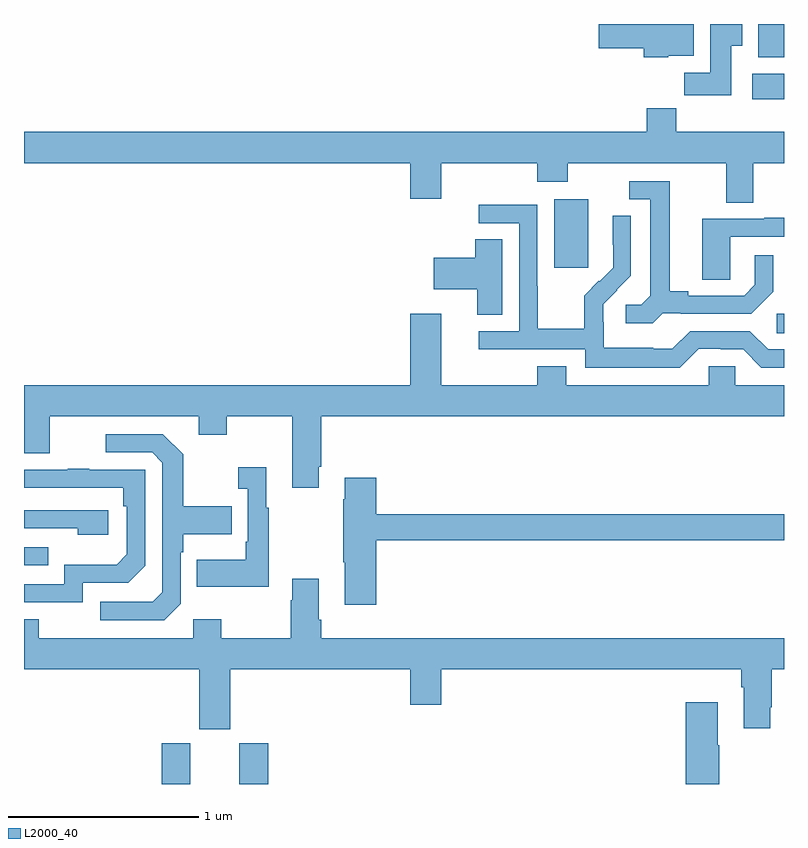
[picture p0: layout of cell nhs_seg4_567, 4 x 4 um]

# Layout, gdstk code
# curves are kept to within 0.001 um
import gdstk
lib = gdstk.Library(unit=1e-6, precision=1e-09)
def R(c, l, rs):  # rectangles x0, y0, x1, y1
    for r in rs: c.add(gdstk.rectangle(r[:2], r[2:], *l))
def P(c, l, *ps):  # polygons
    for p in ps: c.add(gdstk.Polygon(p, *l))
L2000_40 = (2000, 40)

nhs_seg4_567 = lib.new_cell('nhs_seg4_567')
R(nhs_seg4_567, L2000_40, [(139.724,778.9,139.876,779.115), (140.132,778.9,140.285,779.115), (139,780.051,139.127,780.147), (142.962,781.273,143,781.374), (141.791,781.617,141.97,781.978), (142.833,782.504,143,782.638), (142.865,782.726,143,782.9)])
P(nhs_seg4_567, L2000_40, [(142.723,782.785),(142.78,782.785),(142.78,782.9),(142.613,782.9),(142.613,782.644),(142.474,782.644),(142.474,782.526),(142.723,782.526)],
  [(142.392,782.732),(142.525,782.732),(142.525,782.9),(142.026,782.9),(142.026,782.773),(142.262,782.773),(142.262,782.726),(142.392,782.726)],
  [(142.837,782.168),(143,782.168),(143,782.332),(142.433,782.332),(142.433,782.456),(142.277,782.456),(142.277,782.332),(139,782.332),(139,782.168),(141.032,782.168),(141.032,781.98),(141.196,781.98),(141.196,782.168),(141.701,782.168),(141.701,782.069),(141.861,782.069),(141.861,782.168),(142.697,782.168),(142.697,781.96),(142.837,781.96)],
  [(142.362,781.377),(142.456,781.377),(142.456,781.374),(142.828,781.374),(142.944,781.49),(142.944,781.684),(142.847,781.684),(142.847,781.527),(142.79,781.47),(142.495,781.47),(142.495,781.493),(142.399,781.493),(142.399,782.073),(142.185,782.073),(142.185,781.977),(142.295,781.977),(142.295,781.469),(142.248,781.422),(142.167,781.422),(142.167,781.325),(142.31,781.325)],
  [(142.551,781.191),(142.667,781.191),(142.667,781.188),(142.785,781.188),(142.881,781.092),(143,781.092),(143,781.188),(142.917,781.188),(142.821,781.284),(142.506,781.284),(142.413,781.191),(142.313,781.191),(142.313,781.195),(142.05,781.195),(142.05,781.329),(142.048,781.329),(142.048,781.426),(142.194,781.574),(142.194,781.892),(142.098,781.892),(142.098,781.738),(142.1,781.738),(142.1,781.616),(142.029,781.545),(142.026,781.548),(141.949,781.471),(141.949,781.297),(141.705,781.297),(141.705,781.52),(141.702,781.52),(141.702,781.95),(141.393,781.95),(141.393,781.851),(141.606,781.851),(141.606,781.284),(141.393,781.284),(141.393,781.188),(141.954,781.188),(141.954,781.091),(142.451,781.091)],
  [(142.716,781.779),(143,781.779),(143,781.879),(142.895,781.879),(142.895,781.875),(142.571,781.875),(142.571,781.555),(142.716,781.555)],
  [(141.517,781.766),(141.374,781.766),(141.374,781.671),(141.156,781.671),(141.156,781.505),(141.386,781.505),(141.386,781.369),(141.517,781.369)],
  [(143,781),(142.743,781),(142.743,781.098),(142.605,781.098),(142.605,781),(141.853,781),(141.853,781.099),(141.701,781.099),(141.701,781),(141.196,781),(141.196,781.375),(141.032,781.375),(141.032,781),(139,781),(139,780.642),(139.135,780.642),(139.135,780.836),(139.919,780.836),(139.919,780.737),(140.067,780.737),(140.067,780.836),(140.411,780.836),(140.411,780.459),(140.551,780.459),(140.551,780.571),(140.564,780.571),(140.564,780.836),(143,780.836)],
  [(139.824,779.85),(139.824,780.119),(139.837,780.119),(139.837,780.215),(140.093,780.215),(140.093,780.363),(139.837,780.363),(139.837,780.635),(139.731,780.741),(139.431,780.741),(139.431,780.645),(139.674,780.645),(139.728,780.591),(139.728,779.91),(139.677,779.859),(139.401,779.859),(139.401,779.763),(139.737,779.763)],
  [(140.287,780.355),(140.275,780.355),(140.275,780.568),(140.127,780.568),(140.127,780.455),(140.178,780.455),(140.178,780.175),(140.166,780.175),(140.166,780.079),(139.909,780.079),(139.909,779.939),(140.287,779.939)],
  [(139.308,779.958),(139.548,779.958),(139.638,780.048),(139.638,780.555),(139.343,780.555),(139.343,780.56),(139.231,780.56),(139.231,780.555),(139,780.555),(139,780.459),(139.522,780.459),(139.522,780.362),(139.542,780.362),(139.542,780.108),(139.489,780.055),(139.212,780.055),(139.212,779.952),(139,779.952),(139,779.856),(139.308,779.856)],
  [(140.855,780.184),(143,780.184),(143,780.32),(140.855,780.32),(140.855,780.511),(140.687,780.511),(140.687,780.398),(140.68,780.398),(140.68,780.067),(140.687,780.067),(140.687,779.844),(140.855,779.844)],
  [(139.444,780.342),(139,780.342),(139,780.246),(139.283,780.246),(139.283,780.212),(139.444,780.212)],
  [(140.086,779.504),(141.032,779.504),(141.032,779.316),(141.196,779.316),(141.196,779.504),(142.775,779.504),(142.775,779.408),(142.787,779.408),(142.787,779.193),(142.927,779.193),(142.927,779.305),(142.935,779.305),(142.935,779.504),(143,779.504),(143,779.668),(140.564,779.668),(140.564,779.764),(140.551,779.764),(140.551,779.98),(140.411,779.98),(140.411,779.867),(140.404,779.867),(140.404,779.668),(140.037,779.668),(140.037,779.767),(139.89,779.767),(139.89,779.668),(139.077,779.668),(139.077,779.767),(139,779.767),(139,779.504),(139.922,779.504),(139.922,779.187),(140.086,779.187)],
  [(142.659,779.105),(142.651,779.105),(142.651,779.329),(142.484,779.329),(142.484,778.9),(142.659,778.9)])

lib.write_gds('nhs_seg4_567.gds')
